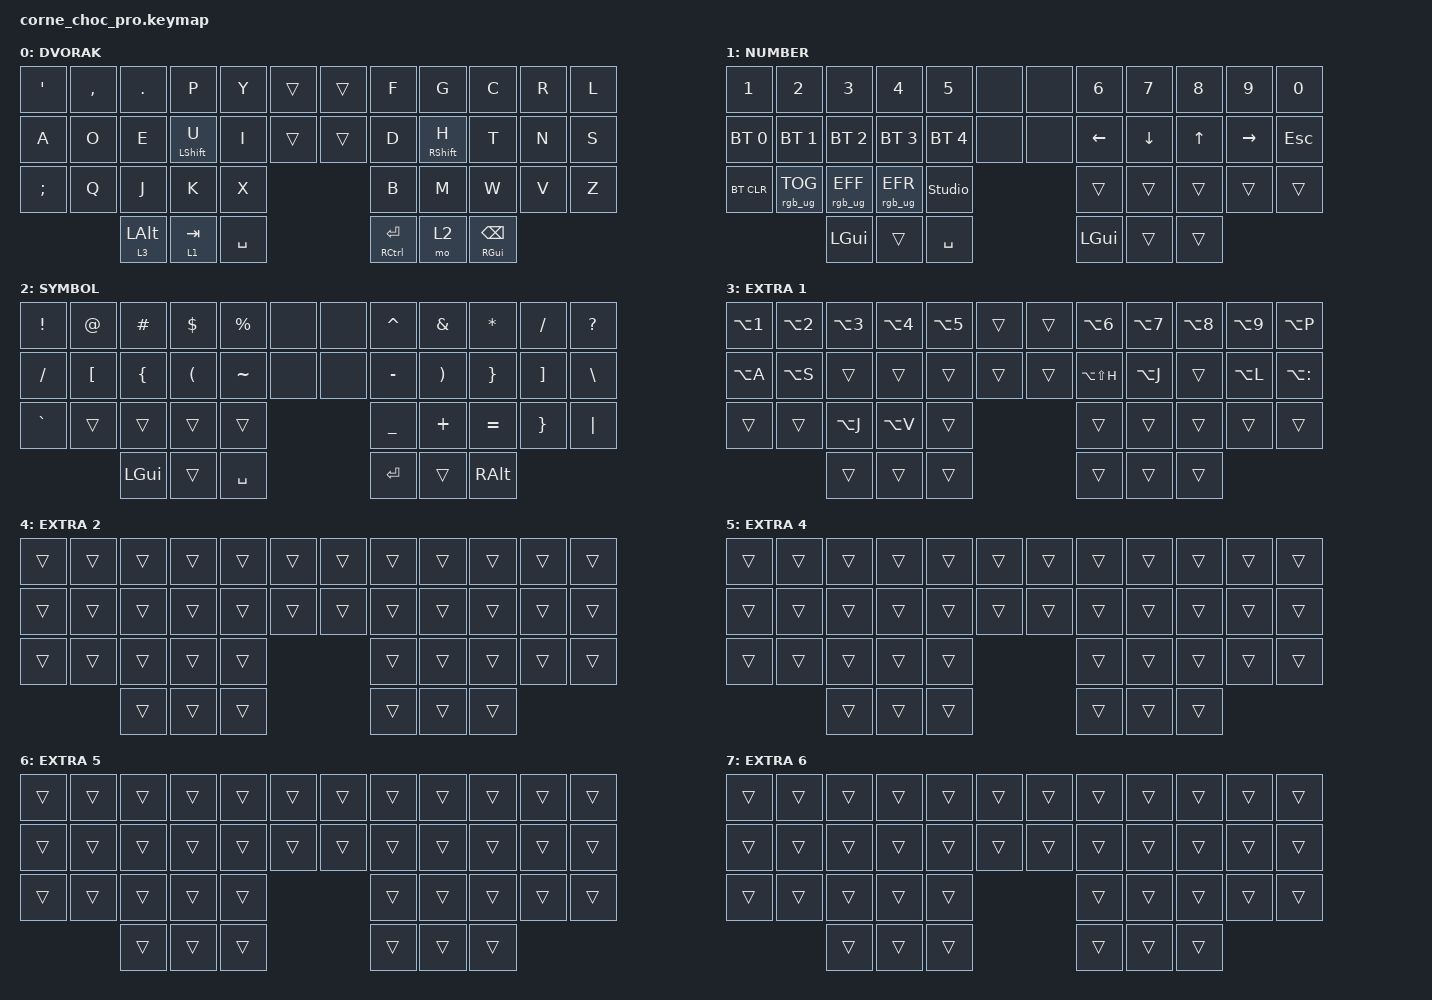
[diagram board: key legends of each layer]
/*
 * Copyright (c) 2020 The ZMK Contributors
 *
 * SPDX-License-Identifier: MIT
 */

#include <behaviors.dtsi>
#include <dt-bindings/zmk/bt.h>
#include <dt-bindings/zmk/keys.h>
#include <dt-bindings/zmk/rgb.h>

/ {
    chosen { zmk,physical-layout = &five_col_layout; };
};

/ {
    behaviors {
        HMShiftR: HMShiftR {
            compatible = "zmk,behavior-hold-tap";
            label = "HMSHIFTR";
            bindings = <&kp>, <&kp>;

            #binding-cells = <2>;
            hold-trigger-key-positions = <0 1 2 3 4 5 12 13 14 15 16 17 24 25 26 27 28 34 35 36 5 17 36>;
            tapping-term-ms = <200>;
            hold-while-undecided;
            hold-trigger-on-release;
            flavor = "tap-preferred";
        };

        HMShiftL: HMShiftL {
            compatible = "zmk,behavior-hold-tap";
            label = "HMSHIFTL";
            bindings = <&kp>, <&kp>;

            #binding-cells = <2>;
            tapping-term-ms = <200>;
            hold-while-undecided;
            hold-trigger-on-release;
            hold-trigger-key-positions = <6 7 8 9 10 11 18 19 20 21 22 23 29 30 31 32 33 37 38 39>;
            flavor = "tap-preferred";
        };

        longPress: longPress {
            compatible = "zmk,behavior-hold-tap";
            label = "LONGPRESS";
            bindings = <&kp>, <&kp>;

            #binding-cells = <2>;
            tapping-term-ms = <150>;
            flavor = "tap-preferred";
        };
    };

    keymap {
        compatible = "zmk,keymap";

        DVORAK {
            display-name = "DVORAK";
            bindings = <
  &kp SQT   &kp COMMA  &kp PERIOD      &kp P                   &kp Y      &trans  &trans  &kp F                           &kp G                    &kp C                      &kp R  &kp L
  &kp A     &kp O      &kp E           &HMShiftL LEFT_SHIFT U  &kp I      &trans  &trans  &kp D                           &HMShiftR RIGHT_SHIFT H  &kp T                      &kp N  &kp S
  &kp SEMI  &kp Q      &kp J           &kp K                   &kp X                      &kp B                           &kp M                    &kp W                      &kp V  &kp Z
                       &lt 3 LEFT_ALT  &lt 1 TAB               &kp SPACE                  &longPress RIGHT_CONTROL ENTER  &mo 2                    &longPress RGUI BACKSPACE
            >;
        };

        lower_layer {
            display-name = "NUMBER";

            // --------------------------------------------------------------------------------
            // |  1  |  2  |  3  |  4  |  5    |  LCTRL | RCTRL |  6  |  7  |  8  |  9  |  0  |
            // | BT1 | BT2 | BT3 | BT4 | BT5   |  LALT  | RALT  | LFT | DWN |  UP | RGT |     |
            // | BTCR| RGB | RST | BOOT| Unlock|        |       |     |     |     |     |     |
            //                    | GUI |     | SPC   |        | ENT   |     | ALT |

            bindings = <
  &kp N1        &kp N2           &kp N3           &kp N4           &kp N5          &none  &none  &kp N6    &kp N7    &kp N8  &kp N9     &kp N0
  &bt BT_SEL 0  &bt BT_SEL 1     &bt BT_SEL 2     &bt BT_SEL 3     &bt BT_SEL 4    &none  &none  &kp LEFT  &kp DOWN  &kp UP  &kp RIGHT  &kp ESCAPE
  &bt BT_CLR    &rgb_ug RGB_TOG  &rgb_ug RGB_EFF  &rgb_ug RGB_EFR  &studio_unlock                &trans    &trans    &trans  &trans     &trans
                                 &kp LGUI         &trans           &kp SPACE                     &kp LGUI  &trans    &trans
            >;
        };

        raise_layer {
            display-name = "SYMBOL";

            // -----------------------------------------------------------------------------
            // |  !  |  @  |  #  |  $  |  %  | LCTRL | RCTRL |  ^  |  &  |  *  |  (  |  )  |
            // |     |     |     |     |     |  LALT | RALT  |  -  |  =  |  [  |  ]  |  \  |
            // |     |     |     |     |     |               |  _  |  +  |  {  |  }  | "|" |
            //                    | GUI |     | SPC |               | ENT |     | ALT |

            bindings = <
  &kp EXCL   &kp AT            &kp HASH        &kp DLLR              &kp PRCNT  &none  &none  &kp CARET  &kp AMPS               &kp ASTRK        &kp SLASH  &kp QMARK
  &kp SLASH  &kp LEFT_BRACKET  &kp LEFT_BRACE  &kp LEFT_PARENTHESIS  &kp TILDE  &none  &none  &kp MINUS  &kp RIGHT_PARENTHESIS  &kp RIGHT_BRACE  &kp RBKT   &kp BSLH
  &kp GRAVE  &trans            &trans          &trans                &trans                   &kp UNDER  &kp PLUS               &kp EQUAL        &kp RBRC   &kp PIPE
                               &kp LGUI        &trans                &kp SPACE                &kp RET    &trans                 &kp RALT
            >;
        };

        Controll {
            display-name = "EXTRA 1";
            bindings = <
  &kp LA(NUMBER_1)  &kp LA(NUMBER_2)  &kp LA(NUMBER_3)  &kp LA(NUMBER_4)  &kp LA(N5)  &trans  &trans  &kp LA(NUMBER_6)  &kp LA(N7)  &kp LA(N8)  &kp LA(N9)  &kp LA(P)
  &kp LA(A)         &kp LA(S)         &trans            &trans            &trans      &trans  &trans  &kp LA(LS(H))     &kp LA(J)   &trans      &kp LA(L)   &kp LA(COLON)
  &trans            &trans            &kp LA(J)         &kp LA(V)         &trans                      &trans            &trans      &trans      &trans      &trans
                                      &trans            &trans            &trans                      &trans            &trans      &trans
            >;
        };

        extra_layer_2 {
            display-name = "EXTRA 2";
            bindings = <
  &trans  &trans  &trans  &trans  &trans  &trans  &trans  &trans  &trans  &trans  &trans  &trans
  &trans  &trans  &trans  &trans  &trans  &trans  &trans  &trans  &trans  &trans  &trans  &trans
  &trans  &trans  &trans  &trans  &trans                  &trans  &trans  &trans  &trans  &trans
                  &trans  &trans  &trans                  &trans  &trans  &trans
            >;
        };

        extra_layer_4 {
            display-name = "EXTRA 4";
            bindings = <
  &trans  &trans  &trans  &trans  &trans  &trans  &trans  &trans  &trans  &trans  &trans  &trans
  &trans  &trans  &trans  &trans  &trans  &trans  &trans  &trans  &trans  &trans  &trans  &trans
  &trans  &trans  &trans  &trans  &trans                  &trans  &trans  &trans  &trans  &trans
                  &trans  &trans  &trans                  &trans  &trans  &trans
            >;
        };

        extra_layer_5 {
            display-name = "EXTRA 5";
            bindings = <
  &trans  &trans  &trans  &trans  &trans  &trans  &trans  &trans  &trans  &trans  &trans  &trans
  &trans  &trans  &trans  &trans  &trans  &trans  &trans  &trans  &trans  &trans  &trans  &trans
  &trans  &trans  &trans  &trans  &trans                  &trans  &trans  &trans  &trans  &trans
                  &trans  &trans  &trans                  &trans  &trans  &trans
            >;
        };

        extra_layer_6 {
            display-name = "EXTRA 6";
            bindings = <
  &trans  &trans  &trans  &trans  &trans  &trans  &trans  &trans  &trans  &trans  &trans  &trans
  &trans  &trans  &trans  &trans  &trans  &trans  &trans  &trans  &trans  &trans  &trans  &trans
  &trans  &trans  &trans  &trans  &trans                  &trans  &trans  &trans  &trans  &trans
                  &trans  &trans  &trans                  &trans  &trans  &trans
            >;
        };
    };
};
